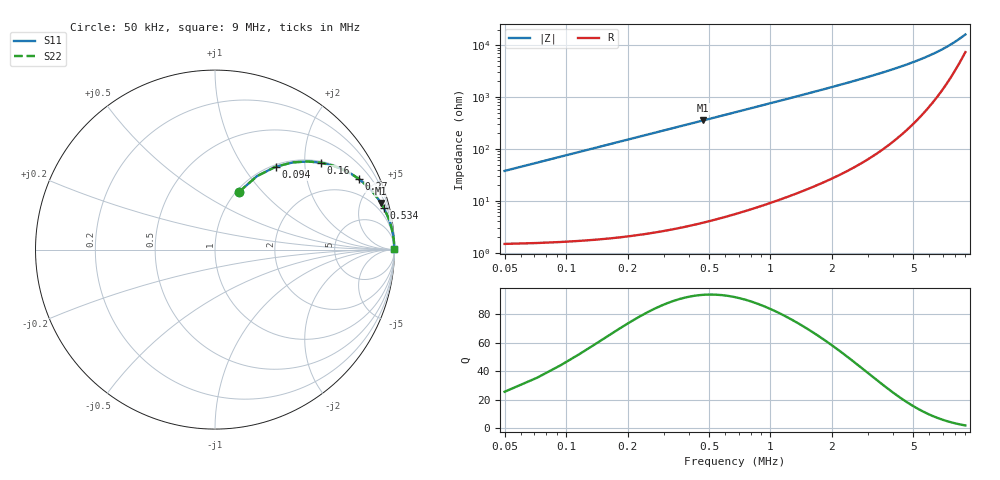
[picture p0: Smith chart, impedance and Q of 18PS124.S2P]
! Coilcraft 1812PS-124 Power Chip Inductor
! 1 October 2002
# MHZ S MA R 50
!Freq  MagS11  AngS11  MagS21  AngS21  MagS12  AngS12  MagS22  AngS22
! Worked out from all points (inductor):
!   408 points, 50 kHz to 9 MHz, reference 50 ohm
!   read as one part in series: L = 120 uH near 94 kHz
!   highest Q = 93.4 at 468 kHz (marker M1), where L = 120 uH
!   S11 on the Smith chart (normalised r, x): 50 kHz: 1.03, +0.75; 94 kHz: 1.03, +1.42; 160 kHz: 1.04, +2.41; 270 kHz: 1.05, +4.07; 534 kHz: 1.09, +8.07; 9 MHz: open
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0.05  0.3485 67.4  0.9238 -20.4  0.9238 -20.4  0.3485 67.4
0.072  0.4717 60.2  0.8685 -28.1  0.8685 -28.1  0.4717 60.2
0.094  0.5723 53.8  0.8072 -34.9  0.8072 -34.9  0.5723 53.8
0.116  0.6522 48.2  0.7455 -40.7  0.7455 -40.7  0.6522 48.2
0.138  0.715 43.4  0.687 -45.6  0.687 -45.6  0.715 43.4
0.16  0.7642 39.3  0.6333 -49.8  0.6333 -49.8  0.7642 39.3
0.204  0.8334 32.8  0.5416 -56.4  0.5416 -56.4  0.8334 32.8
0.226  0.8578 30.2  0.5031 -59.1  0.5031 -59.1  0.8578 30.2
0.27  0.8935 26.0  0.4386 -63.3  0.4386 -63.3  0.8935 26.0
0.358  0.9345 20.2  0.3458 -69.1  0.3458 -69.1  0.9345 20.2
0.468  0.9596 15.7  0.2714 -73.6  0.2714 -73.6  0.9596 15.7
0.534  0.9682 13.9  0.2399 -75.5  0.2399 -75.5  0.9682 13.9
0.732  0.9822 10.2  0.1772 -79.2  0.1772 -79.2  0.9822 10.2
0.952  0.989 7.9  0.1368 -81.5  0.1368 -81.5  0.989 7.9
1.216  0.9929 6.1  0.107 -83.1  0.107 -83.1  0.9929 6.1
1.546  0.9953 4.8  0.08371 -84.4  0.08371 -84.4  0.9953 4.8
2.206  0.9973 3.3  0.05757 -85.6  0.05757 -85.6  0.9973 3.3
3.042  0.9981 2.3  0.04024 -86.2  0.04024 -86.2  0.9981 2.3
4.538  0.9984 1.4  0.02434 -85.6  0.02434 -85.6  0.9984 1.4
6.034  0.9982 0.9  0.01564 -83.0  0.01564 -83.0  0.9982 0.9
7.53  0.9978 0.6  0.009979 -76.8  0.009979 -76.8  0.9978 0.6
9  0.9971 0.3  0.006199 -62.5  0.006199 -62.5  0.9971 0.3
